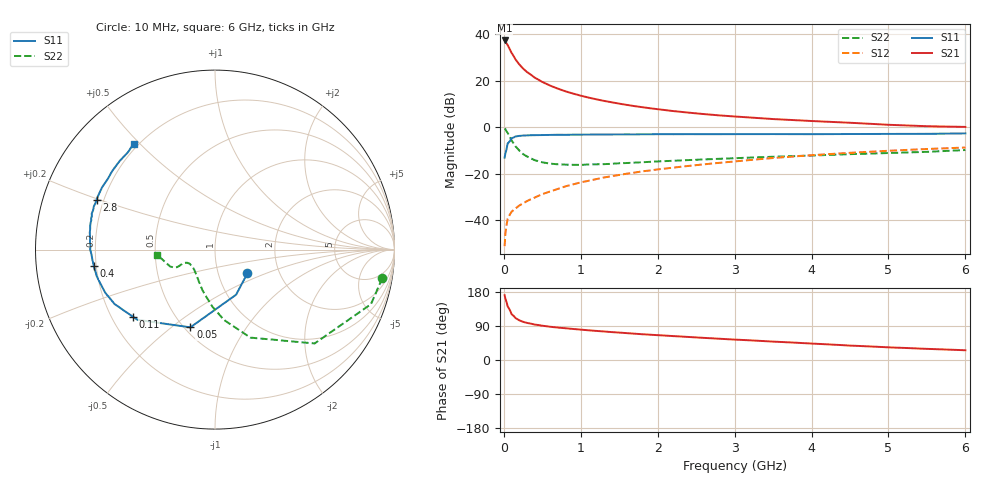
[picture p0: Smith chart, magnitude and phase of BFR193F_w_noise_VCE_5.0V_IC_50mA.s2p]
! Infineon Technologies  Discrete & RF Semiconductors
! BFR193F
! VCE =  5.0 V,  IC =  50 mA
! Common Emitter S-Parameters:  Jan 2017
# GHz  S  MA  R  50
!  f  S11  S21  S12  S22
! GHz  MAG  ANG  MAG  ANG  MAG  ANG  MAG  ANG
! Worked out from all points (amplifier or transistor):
!   77 points, 10 MHz to 6 GHz, reference 50 ohm
!   highest |S21| = 37.4 dB at 10 MHz (marker M1)
!   |S21| within 3 dB of that: start of sweep to 65.78 MHz
!   unconditionally stable (mu >= 1): 880.8 MHz to 2.497 GHz
!   at 130 MHz: K = 0.49, MSG = 32.9 dB, |S12| = -35.4 dB
!   at 2.2 GHz: K = 1.01, MAG = 11.5 dB, |S12| = -17.3 dB
!   at 6 GHz: K = 0.87, MSG = 4.4 dB, |S12| = -8.6 dB
!   lowest NFmin = 1.48 dB at 450 MHz
!   S11 on the Smith chart (normalised r, x): 10 MHz: 1.38, -0.39; 50 MHz: 0.54, -0.58; 110 MHz: 0.29, -0.33; 400 MHz: 0.19, -0.07; 2.8 GHz: 0.17, +0.20; 6 GHz: 0.18, +0.48
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0.01  0.2241 -36.4  73.98 171.1  0.0028 86.3  0.9457 -9.7
0.02  0.2775 -65.0  71.36 162.1  0.0052 74.1  0.9204 -19.3
0.05  0.4544 -107.6  58.89 141.2  0.0108 64.2  0.7625 -43.3
0.1  0.5831 -137.9  40.19 121.0  0.0154 53.2  0.5286 -68.1
0.11  0.5909 -140.8  37.93 119.5  0.0159 53.1  0.4997 -70.4
0.15  0.6363 -151.5  29.27 111.0  0.018 52.8  0.3948 -82.7
0.2  0.6572 -158.6  22.71 104.8  0.0209 54.3  0.3197 -92.4
0.25  0.667 -164.0  18.45 100.8  0.0233 56.1  0.2675 -100.5
0.3  0.6752 -167.3  15.55 97.9  0.026 59.1  0.2379 -106.9
0.4  0.6814 -172.2  11.78 93.5  0.031 62.2  0.198 -117.2
0.5  0.6853 -175.3  9.483 90.5  0.0367 65.9  0.1777 -124.9
0.6  0.6892 -178.0  7.946 87.8  0.0419 68.2  0.1666 -131.4
0.7  0.6956 179.9  6.832 85.6  0.0475 70.1  0.1612 -136.1
0.9  0.6979 176.4  5.336 81.9  0.0596 71.6  0.1569 -143.6
1.1  0.701 173.6  4.38 78.4  0.0712 73.1  0.1597 -148.1
1.5  0.7083 168.9  3.242 72.3  0.0952 73.5  0.1695 -153.8
2.1  0.7145 162.9  2.354 64.4  0.1306 73.2  0.1887 -156.5
2.8  0.7157 157.1  1.813 56.1  0.1731 71.9  0.2115 -156.2
3.1  0.717 154.6  1.675 52.9  0.1922 71.1  0.221 -155.3
4.1  0.7163 145.8  1.349 42.4  0.2587 67.0  0.2516 -156.8
5.1  0.7251 136.0  1.123 32.6  0.3202 61.2  0.2847 -165.6
6  0.7441 127.6  1.025 25.7  0.3696 56.0  0.3266 -174.9
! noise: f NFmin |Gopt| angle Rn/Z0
0.45  1.48  0.47  -179  0.07
0.9  1.56  0.48  -178  0.08
1.9  2.14  0.6  -163  0.09
2.4  2.45  0.62  -155  0.15
